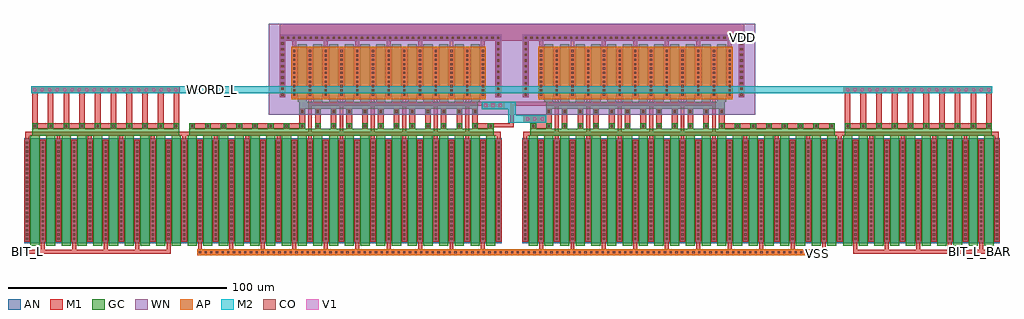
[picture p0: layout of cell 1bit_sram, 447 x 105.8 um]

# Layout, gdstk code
from math import pi, radians
import gdstk
lib = gdstk.Library(unit=1e-6, precision=1e-07)
def R(c, l, rs):  # rectangles x0, y0, x1, y1
    for r in rs: c.add(gdstk.rectangle(r[:2], r[2:], *l))
def A(c, l, x, y, w, h, nx, ny, dx, dy):  # array of equal rectangles
    R(c, l, [(x+i*dx, y+j*dy, x+i*dx+w, y+j*dy+h) for i in range(nx) for j in range(ny)])
AP = (3, 1)
AN = (3, 2)
GC = (8, 1)
CO = (11, 0)
M1 = (13, 0)
V1 = (19, 0)
M2 = (20, 0)
WN = (140, 0)

fet_p = lib.new_cell('fet_p')
R(fet_p, AP, [(-44.5,-12,44.5,12)])
A(fet_p, CO, -43.7, -10.5, 1, 1, 13, 11, 7.2, 2)
A(fet_p, M1, -44.5, -11.3, 2.6, 22.6, 13, 1, 7.2, 0)
fet_p.add(gdstk.FlexPath([(3.6,-13.2),(3.6,13.2)], 4.2, ends="flush", simple_path=True, layer=8, datatype=1))  # GC
fet_p.add(gdstk.FlexPath([(-3.6,-13.2),(-3.6,13.2)], 4.2, ends="flush", simple_path=True, layer=8, datatype=1))  # GC
fet_p.add(gdstk.FlexPath([(10.8,-13.2),(10.8,13.2)], 4.2, ends="flush", simple_path=True, layer=8, datatype=1))  # GC
fet_p.add(gdstk.FlexPath([(-10.8,-13.2),(-10.8,13.2)], 4.2, ends="flush", simple_path=True, layer=8, datatype=1))  # GC
fet_p.add(gdstk.FlexPath([(18,-13.2),(18,13.2)], 4.2, ends="flush", simple_path=True, layer=8, datatype=1))  # GC
fet_p.add(gdstk.FlexPath([(-18,-13.2),(-18,13.2)], 4.2, ends="flush", simple_path=True, layer=8, datatype=1))  # GC
fet_p.add(gdstk.FlexPath([(25.2,-13.2),(25.2,13.2)], 4.2, ends="flush", simple_path=True, layer=8, datatype=1))  # GC
fet_p.add(gdstk.FlexPath([(-25.2,-13.2),(-25.2,13.2)], 4.2, ends="flush", simple_path=True, layer=8, datatype=1))  # GC
fet_p.add(gdstk.FlexPath([(32.4,-13.2),(32.4,13.2)], 4.2, ends="flush", simple_path=True, layer=8, datatype=1))  # GC
fet_p.add(gdstk.FlexPath([(-32.4,-13.2),(-32.4,13.2)], 4.2, ends="flush", simple_path=True, layer=8, datatype=1))  # GC
fet_p.add(gdstk.FlexPath([(39.6,-13.2),(39.6,13.2)], 4.2, ends="flush", simple_path=True, layer=8, datatype=1))  # GC
fet_p.add(gdstk.FlexPath([(-39.6,-13.2),(-39.6,13.2)], 4.2, ends="flush", simple_path=True, layer=8, datatype=1))  # GC

fet_n = lib.new_cell('fet_n')
R(fet_n, AN, [(-73.3,-24,73.3,24)])
A(fet_n, CO, -72.5, -22.5, 1, 1, 21, 23, 7.2, 2)
A(fet_n, M1, -73.3, -23.3, 2.6, 46.6, 21, 1, 7.2, 0)
fet_n.add(gdstk.FlexPath([(3.6,-25.2),(3.6,25.2)], 4.2, ends="flush", simple_path=True, layer=8, datatype=1))  # GC
fet_n.add(gdstk.FlexPath([(-3.6,-25.2),(-3.6,25.2)], 4.2, ends="flush", simple_path=True, layer=8, datatype=1))  # GC
fet_n.add(gdstk.FlexPath([(10.8,-25.2),(10.8,25.2)], 4.2, ends="flush", simple_path=True, layer=8, datatype=1))  # GC
fet_n.add(gdstk.FlexPath([(-10.8,-25.2),(-10.8,25.2)], 4.2, ends="flush", simple_path=True, layer=8, datatype=1))  # GC
fet_n.add(gdstk.FlexPath([(18,-25.2),(18,25.2)], 4.2, ends="flush", simple_path=True, layer=8, datatype=1))  # GC
fet_n.add(gdstk.FlexPath([(-18,-25.2),(-18,25.2)], 4.2, ends="flush", simple_path=True, layer=8, datatype=1))  # GC
fet_n.add(gdstk.FlexPath([(25.2,-25.2),(25.2,25.2)], 4.2, ends="flush", simple_path=True, layer=8, datatype=1))  # GC
fet_n.add(gdstk.FlexPath([(-25.2,-25.2),(-25.2,25.2)], 4.2, ends="flush", simple_path=True, layer=8, datatype=1))  # GC
fet_n.add(gdstk.FlexPath([(32.4,-25.2),(32.4,25.2)], 4.2, ends="flush", simple_path=True, layer=8, datatype=1))  # GC
fet_n.add(gdstk.FlexPath([(-32.4,-25.2),(-32.4,25.2)], 4.2, ends="flush", simple_path=True, layer=8, datatype=1))  # GC
fet_n.add(gdstk.FlexPath([(39.6,-25.2),(39.6,25.2)], 4.2, ends="flush", simple_path=True, layer=8, datatype=1))  # GC
fet_n.add(gdstk.FlexPath([(-39.6,-25.2),(-39.6,25.2)], 4.2, ends="flush", simple_path=True, layer=8, datatype=1))  # GC
fet_n.add(gdstk.FlexPath([(46.8,-25.2),(46.8,25.2)], 4.2, ends="flush", simple_path=True, layer=8, datatype=1))  # GC
fet_n.add(gdstk.FlexPath([(-46.8,-25.2),(-46.8,25.2)], 4.2, ends="flush", simple_path=True, layer=8, datatype=1))  # GC
fet_n.add(gdstk.FlexPath([(54,-25.2),(54,25.2)], 4.2, ends="flush", simple_path=True, layer=8, datatype=1))  # GC
fet_n.add(gdstk.FlexPath([(-54,-25.2),(-54,25.2)], 4.2, ends="flush", simple_path=True, layer=8, datatype=1))  # GC
fet_n.add(gdstk.FlexPath([(61.2,-25.2),(61.2,25.2)], 4.2, ends="flush", simple_path=True, layer=8, datatype=1))  # GC
fet_n.add(gdstk.FlexPath([(-61.2,-25.2),(-61.2,25.2)], 4.2, ends="flush", simple_path=True, layer=8, datatype=1))  # GC
fet_n.add(gdstk.FlexPath([(68.4,-25.2),(68.4,25.2)], 4.2, ends="flush", simple_path=True, layer=8, datatype=1))  # GC
fet_n.add(gdstk.FlexPath([(-68.4,-25.2),(-68.4,25.2)], 4.2, ends="flush", simple_path=True, layer=8, datatype=1))  # GC

cont_n = lib.new_cell('cont_n')
R(cont_n, AN, [(-1.3,-1.3,1.3,1.3)])
R(cont_n, CO, [(-0.5,-0.5,0.5,0.5)])
R(cont_n, M1, [(-1.3,-1.3,1.3,1.3)])

cont_p = lib.new_cell('cont_p')
R(cont_p, AP, [(-1.3,-1.3,1.3,1.3)])
R(cont_p, CO, [(-0.5,-0.5,0.5,0.5)])
R(cont_p, M1, [(-1.3,-1.3,1.3,1.3)])

cont_g = lib.new_cell('cont_g')
R(cont_g, GC, [(-1.3,-1.3,1.3,1.3)])
R(cont_g, CO, [(-0.5,-0.5,0.5,0.5)])
R(cont_g, M1, [(-1.3,-1.3,1.3,1.3)])

inverter = lib.new_cell('INVERTER')
R(inverter, GC, [(3.6,54.6,143,57.8), (54,67,135.8,70.2)])
A(inverter, M1, 54, 57.8, 2.6, 9.2, 12, 1, 7.2, 0)
R(inverter, M1, [(3.6,57.8,56.6,60.4), (133.2,57.8,143,60.4)])
R(inverter, WN, [(40,64.2,151.4,105.8)])
inverter.add(gdstk.FlexPath([(51.7,94.7),(51.7,100.2)], 1.8, ends="flush", simple_path=True, layer=13, datatype=0))  # M1
inverter.add(gdstk.FlexPath([(66.1,94.7),(66.1,100.2)], 1.8, ends="flush", simple_path=True, layer=13, datatype=0))  # M1
inverter.add(gdstk.FlexPath([(80.5,94.7),(80.5,100.2)], 1.8, ends="flush", simple_path=True, layer=13, datatype=0))  # M1
inverter.add(gdstk.FlexPath([(94.9,94.7),(94.9,100.2)], 1.8, ends="flush", simple_path=True, layer=13, datatype=0))  # M1
inverter.add(gdstk.FlexPath([(109.3,94.7),(109.3,100.2)], 1.8, ends="flush", simple_path=True, layer=13, datatype=0))  # M1
inverter.add(gdstk.FlexPath([(123.7,94.7),(123.7,100.2)], 1.8, ends="flush", simple_path=True, layer=13, datatype=0))  # M1
inverter.add(gdstk.FlexPath([(138.1,94.7),(138.1,100.2)], 1.8, ends="flush", simple_path=True, layer=13, datatype=0))  # M1
inverter.add(gdstk.FlexPath([(58.9,72.1),(58.9,52.7)], 1.8, ends="flush", simple_path=True, layer=13, datatype=0))  # M1
inverter.add(gdstk.FlexPath([(73.3,72.1),(73.3,52.7)], 1.8, ends="flush", simple_path=True, layer=13, datatype=0))  # M1
inverter.add(gdstk.FlexPath([(87.7,72.1),(87.7,52.7)], 1.8, ends="flush", simple_path=True, layer=13, datatype=0))  # M1
inverter.add(gdstk.FlexPath([(102.1,72.1),(102.1,52.7)], 1.8, ends="flush", simple_path=True, layer=13, datatype=0))  # M1
inverter.add(gdstk.FlexPath([(116.5,72.1),(116.5,52.7)], 1.8, ends="flush", simple_path=True, layer=13, datatype=0))  # M1
inverter.add(gdstk.FlexPath([(130.9,72.1),(130.9,52.7)], 1.8, ends="flush", simple_path=True, layer=13, datatype=0))  # M1
inverter.add(gdstk.FlexPath([(146.2,55.5),(0.4,55.5)], 1.8, ends="flush", simple_path=True, layer=13, datatype=0))  # M1
inverter.add(gdstk.FlexPath([(131.8,69.3),(58,69.3)], 1.8, ends="flush", simple_path=True, layer=13, datatype=0))  # M1
inverter.add(gdstk.FlexPath([(15.7,56.4),(15.7,52.7)], 1.8, ends="flush", simple_path=True, layer=13, datatype=0))  # M1
inverter.add(gdstk.FlexPath([(30.1,56.4),(30.1,52.7)], 1.8, ends="flush", simple_path=True, layer=13, datatype=0))  # M1
inverter.add(gdstk.FlexPath([(44.5,56.4),(44.5,52.7)], 1.8, ends="flush", simple_path=True, layer=13, datatype=0))  # M1
inverter.add(gdstk.FlexPath([(145.3,56.4),(145.3,52.7)], 1.8, ends="flush", simple_path=True, layer=13, datatype=0))  # M1
inverter.add(gdstk.FlexPath([(8.5,6.1),(8.5,1.3)], 1.8, ends="flush", simple_path=True, layer=13, datatype=0))  # M1
inverter.add(gdstk.FlexPath([(22.9,6.1),(22.9,1.3)], 1.8, ends="flush", simple_path=True, layer=13, datatype=0))  # M1
inverter.add(gdstk.FlexPath([(37.3,6.1),(37.3,1.3)], 1.8, ends="flush", simple_path=True, layer=13, datatype=0))  # M1
inverter.add(gdstk.FlexPath([(1.3,56.4),(1.3,52.7)], 1.8, ends="flush", simple_path=True, layer=13, datatype=0))  # M1
inverter.add(gdstk.FlexPath([(51.7,6.1),(51.7,1.3)], 1.8, ends="flush", simple_path=True, layer=13, datatype=0))  # M1
inverter.add(gdstk.FlexPath([(66.1,6.1),(66.1,1.3)], 1.8, ends="flush", simple_path=True, layer=13, datatype=0))  # M1
inverter.add(gdstk.FlexPath([(80.5,6.1),(80.5,1.3)], 1.8, ends="flush", simple_path=True, layer=13, datatype=0))  # M1
inverter.add(gdstk.FlexPath([(94.9,6.1),(94.9,1.3)], 1.8, ends="flush", simple_path=True, layer=13, datatype=0))  # M1
inverter.add(gdstk.FlexPath([(109.3,6.1),(109.3,1.3)], 1.8, ends="flush", simple_path=True, layer=13, datatype=0))  # M1
inverter.add(gdstk.FlexPath([(123.7,6.1),(123.7,1.3)], 1.8, ends="flush", simple_path=True, layer=13, datatype=0))  # M1
inverter.add(gdstk.FlexPath([(138.1,6.1),(138.1,1.3)], 1.8, ends="flush", simple_path=True, layer=13, datatype=0))  # M1
inverter.add(gdstk.Reference(fet_p, (94.9,83.4)))
inverter.add(gdstk.Reference(fet_n, (73.3,29.4)))
inverter.add(gdstk.Reference(cont_n, (74.9,99.5)))
inverter.add(gdstk.Reference(cont_p, (73.5,1.3)))
inverter.add(gdstk.Reference(cont_g, (98.5,65.7)))
inverter.add(gdstk.Reference(cont_g, (105.7,65.7)))
inverter.add(gdstk.Reference(cont_g, (112.9,65.7)))
inverter.add(gdstk.Reference(cont_g, (120.1,65.7)))
inverter.add(gdstk.Reference(cont_g, (127.3,65.7)))
inverter.add(gdstk.Reference(cont_g, (134.5,65.7)))
inverter.add(gdstk.Reference(cont_g, (76.9,65.7)))
inverter.add(gdstk.Reference(cont_g, (84.1,65.7)))
inverter.add(gdstk.Reference(cont_n, (77.5,99.5)))
inverter.add(gdstk.Reference(cont_n, (80.1,99.5)))
inverter.add(gdstk.Reference(cont_n, (82.7,99.5)))
inverter.add(gdstk.Reference(cont_n, (85.3,99.5)))
inverter.add(gdstk.Reference(cont_n, (87.9,99.5)))
inverter.add(gdstk.Reference(cont_n, (90.5,99.5)))
inverter.add(gdstk.Reference(cont_n, (93.1,99.5)))
inverter.add(gdstk.Reference(cont_n, (95.7,99.5)))
inverter.add(gdstk.Reference(cont_n, (98.3,99.5)))
inverter.add(gdstk.Reference(cont_n, (100.9,99.5)))
inverter.add(gdstk.Reference(cont_n, (103.5,99.5)))
inverter.add(gdstk.Reference(cont_n, (106.1,99.5)))
inverter.add(gdstk.Reference(cont_n, (108.7,99.5)))
inverter.add(gdstk.Reference(cont_n, (111.3,99.5)))
inverter.add(gdstk.Reference(cont_n, (113.9,99.5)))
inverter.add(gdstk.Reference(cont_n, (116.5,99.5)))
inverter.add(gdstk.Reference(cont_n, (119.1,99.5)))
inverter.add(gdstk.Reference(cont_n, (121.7,99.5)))
inverter.add(gdstk.Reference(cont_n, (124.3,99.5)))
inverter.add(gdstk.Reference(cont_n, (126.9,99.5)))
inverter.add(gdstk.Reference(cont_n, (129.5,99.5)))
inverter.add(gdstk.Reference(cont_n, (132.1,99.5)))
inverter.add(gdstk.Reference(cont_n, (134.7,99.5)))
inverter.add(gdstk.Reference(cont_n, (137.3,99.5)))
inverter.add(gdstk.Reference(cont_n, (139.9,99.5)))
inverter.add(gdstk.Reference(cont_n, (142.5,99.5)))
inverter.add(gdstk.Reference(cont_n, (145.1,99.5)))
inverter.add(gdstk.Reference(cont_n, (145.1,96.9)))
inverter.add(gdstk.Reference(cont_n, (145.1,94.3)))
inverter.add(gdstk.Reference(cont_n, (145.1,91.7)))
inverter.add(gdstk.Reference(cont_n, (145.1,89.1)))
inverter.add(gdstk.Reference(cont_n, (145.1,86.5)))
inverter.add(gdstk.Reference(cont_n, (145.1,83.9)))
inverter.add(gdstk.Reference(cont_n, (145.1,81.3)))
inverter.add(gdstk.Reference(cont_n, (145.1,78.7)))
inverter.add(gdstk.Reference(cont_n, (145.1,76.1)))
inverter.add(gdstk.Reference(cont_n, (145.1,73.5)))
inverter.add(gdstk.Reference(cont_g, (141.7,59.1)))
inverter.add(gdstk.Reference(cont_g, (76.9,59.1)))
inverter.add(gdstk.Reference(cont_g, (84.1,59.1)))
inverter.add(gdstk.Reference(cont_g, (91.3,59.1)))
inverter.add(gdstk.Reference(cont_g, (98.5,59.1)))
inverter.add(gdstk.Reference(cont_g, (105.7,59.1)))
inverter.add(gdstk.Reference(cont_g, (112.9,59.1)))
inverter.add(gdstk.Reference(cont_g, (120.1,59.1)))
inverter.add(gdstk.Reference(cont_g, (127.3,59.1)))
inverter.add(gdstk.Reference(cont_g, (134.5,59.1)))
inverter.add(gdstk.Reference(cont_g, (91.3,65.7)))
inverter.add(gdstk.Reference(cont_n, (56.7,99.5)))
inverter.add(gdstk.Reference(cont_n, (59.3,99.5)))
inverter.add(gdstk.Reference(cont_n, (61.9,99.5)))
inverter.add(gdstk.Reference(cont_g, (4.9,59.1)))
inverter.add(gdstk.Reference(cont_g, (12.1,59.1)))
inverter.add(gdstk.Reference(cont_g, (19.3,59.1)))
inverter.add(gdstk.Reference(cont_g, (26.5,59.1)))
inverter.add(gdstk.Reference(cont_g, (33.7,59.1)))
inverter.add(gdstk.Reference(cont_g, (40.9,59.1)))
inverter.add(gdstk.Reference(cont_g, (48.1,59.1)))
inverter.add(gdstk.Reference(cont_g, (55.3,59.1)))
inverter.add(gdstk.Reference(cont_n, (46.3,96.9)))
inverter.add(gdstk.Reference(cont_n, (46.3,94.3)))
inverter.add(gdstk.Reference(cont_n, (46.3,91.7)))
inverter.add(gdstk.Reference(cont_n, (46.3,89.1)))
inverter.add(gdstk.Reference(cont_n, (46.3,86.5)))
inverter.add(gdstk.Reference(cont_n, (46.3,83.9)))
inverter.add(gdstk.Reference(cont_n, (46.3,81.3)))
inverter.add(gdstk.Reference(cont_n, (46.3,78.7)))
inverter.add(gdstk.Reference(cont_n, (46.3,76.1)))
inverter.add(gdstk.Reference(cont_n, (46.3,73.5)))
inverter.add(gdstk.Reference(cont_n, (64.5,99.5)))
inverter.add(gdstk.Reference(cont_g, (62.5,59.1)))
inverter.add(gdstk.Reference(cont_g, (69.7,59.1)))
inverter.add(gdstk.Reference(cont_n, (67.1,99.5)))
inverter.add(gdstk.Reference(cont_n, (69.7,99.5)))
inverter.add(gdstk.Reference(cont_n, (72.3,99.5)))
inverter.add(gdstk.Reference(cont_g, (55.3,65.7)))
inverter.add(gdstk.Reference(cont_g, (69.7,65.7)))
inverter.add(gdstk.Reference(cont_g, (62.5,65.7)))
inverter.add(gdstk.Reference(cont_n, (48.9,99.5)))
inverter.add(gdstk.Reference(cont_n, (46.3,99.5)))
inverter.add(gdstk.Reference(cont_n, (51.5,99.5)))
inverter.add(gdstk.Reference(cont_n, (54.1,99.5)))
inverter.add(gdstk.Reference(cont_p, (11.1,1.3)))
inverter.add(gdstk.Reference(cont_p, (13.7,1.3)))
inverter.add(gdstk.Reference(cont_p, (16.3,1.3)))
inverter.add(gdstk.Reference(cont_p, (18.9,1.3)))
inverter.add(gdstk.Reference(cont_p, (21.5,1.3)))
inverter.add(gdstk.Reference(cont_p, (24.1,1.3)))
inverter.add(gdstk.Reference(cont_p, (26.7,1.3)))
inverter.add(gdstk.Reference(cont_p, (29.3,1.3)))
inverter.add(gdstk.Reference(cont_p, (31.9,1.3)))
inverter.add(gdstk.Reference(cont_p, (34.5,1.3)))
inverter.add(gdstk.Reference(cont_p, (37.1,1.3)))
inverter.add(gdstk.Reference(cont_p, (39.7,1.3)))
inverter.add(gdstk.Reference(cont_p, (42.3,1.3)))
inverter.add(gdstk.Reference(cont_p, (44.9,1.3)))
inverter.add(gdstk.Reference(cont_p, (47.5,1.3)))
inverter.add(gdstk.Reference(cont_p, (50.1,1.3)))
inverter.add(gdstk.Reference(cont_p, (52.7,1.3)))
inverter.add(gdstk.Reference(cont_p, (55.3,1.3)))
inverter.add(gdstk.Reference(cont_p, (57.9,1.3)))
inverter.add(gdstk.Reference(cont_p, (60.5,1.3)))
inverter.add(gdstk.Reference(cont_p, (63.1,1.3)))
inverter.add(gdstk.Reference(cont_p, (65.7,1.3)))
inverter.add(gdstk.Reference(cont_p, (68.3,1.3)))
inverter.add(gdstk.Reference(cont_p, (70.9,1.3)))
inverter.add(gdstk.Reference(cont_p, (8.5,1.3)))
inverter.add(gdstk.Reference(cont_p, (76.1,1.3)))
inverter.add(gdstk.Reference(cont_p, (78.7,1.3)))
inverter.add(gdstk.Reference(cont_p, (81.3,1.3)))
inverter.add(gdstk.Reference(cont_p, (83.9,1.3)))
inverter.add(gdstk.Reference(cont_p, (86.5,1.3)))
inverter.add(gdstk.Reference(cont_p, (89.1,1.3)))
inverter.add(gdstk.Reference(cont_p, (91.7,1.3)))
inverter.add(gdstk.Reference(cont_p, (94.3,1.3)))
inverter.add(gdstk.Reference(cont_p, (96.9,1.3)))
inverter.add(gdstk.Reference(cont_p, (99.5,1.3)))
inverter.add(gdstk.Reference(cont_p, (102.1,1.3)))
inverter.add(gdstk.Reference(cont_p, (104.7,1.3)))
inverter.add(gdstk.Reference(cont_p, (107.3,1.3)))
inverter.add(gdstk.Reference(cont_p, (109.9,1.3)))
inverter.add(gdstk.Reference(cont_p, (112.5,1.3)))
inverter.add(gdstk.Reference(cont_p, (115.1,1.3)))
inverter.add(gdstk.Reference(cont_p, (117.7,1.3)))
inverter.add(gdstk.Reference(cont_p, (120.3,1.3)))
inverter.add(gdstk.Reference(cont_p, (122.9,1.3)))
inverter.add(gdstk.Reference(cont_p, (125.5,1.3)))
inverter.add(gdstk.Reference(cont_p, (128.1,1.3)))
inverter.add(gdstk.Reference(cont_p, (130.7,1.3)))
inverter.add(gdstk.Reference(cont_p, (133.3,1.3)))
inverter.add(gdstk.Reference(cont_p, (135.9,1.3)))
inverter.add(gdstk.Reference(cont_p, (138.5,1.3)))
inverter.add(gdstk.Reference(cont_p, (141.1,1.3)))
inverter.add(gdstk.Reference(cont_p, (143.7,1.3)))
inverter.add(gdstk.Reference(cont_p, (146.3,1.3)))

via_1 = lib.new_cell('via_1')
R(via_1, M1, [(-1.7,-1.7,1.7,1.7)])
R(via_1, V1, [(-0.7,-0.7,0.7,0.7)])
R(via_1, M2, [(-1.7,-1.7,1.7,1.7)])

fet_n_2 = lib.new_cell('fet_n$2')
R(fet_n_2, AN, [(-37.3,-24,37.3,24)])
A(fet_n_2, CO, -36.5, -22.5, 1, 1, 11, 23, 7.2, 2)
A(fet_n_2, M1, -37.3, -23.3, 2.6, 46.6, 11, 1, 7.2, 0)
fet_n_2.add(gdstk.FlexPath([(3.6,-25.2),(3.6,25.2)], 4.2, ends="flush", simple_path=True, layer=8, datatype=1))  # GC
fet_n_2.add(gdstk.FlexPath([(-3.6,-25.2),(-3.6,25.2)], 4.2, ends="flush", simple_path=True, layer=8, datatype=1))  # GC
fet_n_2.add(gdstk.FlexPath([(10.8,-25.2),(10.8,25.2)], 4.2, ends="flush", simple_path=True, layer=8, datatype=1))  # GC
fet_n_2.add(gdstk.FlexPath([(-10.8,-25.2),(-10.8,25.2)], 4.2, ends="flush", simple_path=True, layer=8, datatype=1))  # GC
fet_n_2.add(gdstk.FlexPath([(18,-25.2),(18,25.2)], 4.2, ends="flush", simple_path=True, layer=8, datatype=1))  # GC
fet_n_2.add(gdstk.FlexPath([(-18,-25.2),(-18,25.2)], 4.2, ends="flush", simple_path=True, layer=8, datatype=1))  # GC
fet_n_2.add(gdstk.FlexPath([(25.2,-25.2),(25.2,25.2)], 4.2, ends="flush", simple_path=True, layer=8, datatype=1))  # GC
fet_n_2.add(gdstk.FlexPath([(-25.2,-25.2),(-25.2,25.2)], 4.2, ends="flush", simple_path=True, layer=8, datatype=1))  # GC
fet_n_2.add(gdstk.FlexPath([(32.4,-25.2),(32.4,25.2)], 4.2, ends="flush", simple_path=True, layer=8, datatype=1))  # GC
fet_n_2.add(gdstk.FlexPath([(-32.4,-25.2),(-32.4,25.2)], 4.2, ends="flush", simple_path=True, layer=8, datatype=1))  # GC

c_1bit_sram = lib.new_cell('1bit_sram')
R(c_1bit_sram, M1, [(-163.2,-19.5,-95.8,-16.9), (209,-19.5,276.4,-16.9), (65,-16.9,72.2,-16.7), (-49.8,20.9,163,28.5)])
c_1bit_sram.add(gdstk.FlexPath([(-95.8,-21.1),(-163.2,-21.1)], 3.2, ends="flush", simple_path=True, layer=8, datatype=1))  # GC
c_1bit_sram.add(gdstk.FlexPath([(276.4,-21.1),(209,-21.1)], 3.2, ends="flush", simple_path=True, layer=8, datatype=1))  # GC
c_1bit_sram.add(gdstk.FlexPath([(36.9,-8),(51.5,-8)], 1.8, ends="flush", simple_path=True, layer=13, datatype=0))  # M1
c_1bit_sram.add(gdstk.FlexPath([(76.2,-8),(56.6,-8),(56.6,-17.8),(46.7,-17.8)], 1.8, ends="flush", simple_path=True, layer=13, datatype=0))  # M1
c_1bit_sram.add(gdstk.FlexPath([(-94.4,-21.8),(-166.4,-21.8)], 1.8, ends="flush", simple_path=True, layer=13, datatype=0))  # M1
c_1bit_sram.add(gdstk.FlexPath([(-107.9,-24.6),(-107.9,-20.9)], 1.8, ends="flush", simple_path=True, layer=13, datatype=0))  # M1
c_1bit_sram.add(gdstk.FlexPath([(-122.3,-24.6),(-122.3,-20.9)], 1.8, ends="flush", simple_path=True, layer=13, datatype=0))  # M1
c_1bit_sram.add(gdstk.FlexPath([(-136.7,-24.6),(-136.7,-20.9)], 1.8, ends="flush", simple_path=True, layer=13, datatype=0))  # M1
c_1bit_sram.add(gdstk.FlexPath([(-151.1,-24.6),(-151.1,-20.9)], 1.8, ends="flush", simple_path=True, layer=13, datatype=0))  # M1
c_1bit_sram.add(gdstk.FlexPath([(-165.5,-24.6),(-165.5,-20.9)], 1.8, ends="flush", simple_path=True, layer=13, datatype=0))  # M1
c_1bit_sram.add(gdstk.FlexPath([(207.6,-21.8),(279.6,-21.8)], 1.8, ends="flush", simple_path=True, layer=13, datatype=0))  # M1
c_1bit_sram.add(gdstk.FlexPath([(221.1,-24.6),(221.1,-20.9)], 1.8, ends="flush", simple_path=True, layer=13, datatype=0))  # M1
c_1bit_sram.add(gdstk.FlexPath([(235.5,-24.6),(235.5,-20.9)], 1.8, ends="flush", simple_path=True, layer=13, datatype=0))  # M1
c_1bit_sram.add(gdstk.FlexPath([(249.9,-24.6),(249.9,-20.9)], 1.8, ends="flush", simple_path=True, layer=13, datatype=0))  # M1
c_1bit_sram.add(gdstk.FlexPath([(264.3,-24.6),(264.3,-20.9)], 1.8, ends="flush", simple_path=True, layer=13, datatype=0))  # M1
c_1bit_sram.add(gdstk.FlexPath([(278.7,-24.6),(278.7,-20.9)], 1.8, ends="flush", simple_path=True, layer=13, datatype=0))  # M1
c_1bit_sram.add(gdstk.FlexPath([(-100.7,-71.2),(-100.7,-76.6)], 1.8, ends="flush", simple_path=True, layer=13, datatype=0))  # M1
c_1bit_sram.add(gdstk.FlexPath([(-115.1,-71.2),(-115.1,-76.6)], 1.8, ends="flush", simple_path=True, layer=13, datatype=0))  # M1
c_1bit_sram.add(gdstk.FlexPath([(-129.5,-71.2),(-129.5,-76.6)], 1.8, ends="flush", simple_path=True, layer=13, datatype=0))  # M1
c_1bit_sram.add(gdstk.FlexPath([(-143.9,-71.2),(-143.9,-76.6)], 1.8, ends="flush", simple_path=True, layer=13, datatype=0))  # M1
c_1bit_sram.add(gdstk.FlexPath([(-158.3,-71.2),(-158.3,-76.6)], 1.8, ends="flush", simple_path=True, layer=13, datatype=0))  # M1
c_1bit_sram.add(gdstk.FlexPath([(-99.8,-75.8),(-166.9,-75.8)], 1.8, ends="flush", simple_path=True, layer=13, datatype=0))  # M1
c_1bit_sram.add(gdstk.FlexPath([(271.5,-71.2),(271.5,-76.6)], 1.8, ends="flush", simple_path=True, layer=13, datatype=0))  # M1
c_1bit_sram.add(gdstk.FlexPath([(257.1,-71.2),(257.1,-76.6)], 1.8, ends="flush", simple_path=True, layer=13, datatype=0))  # M1
c_1bit_sram.add(gdstk.FlexPath([(242.7,-71.2),(242.7,-76.6)], 1.8, ends="flush", simple_path=True, layer=13, datatype=0))  # M1
c_1bit_sram.add(gdstk.FlexPath([(228.3,-71.2),(228.3,-76.6)], 1.8, ends="flush", simple_path=True, layer=13, datatype=0))  # M1
c_1bit_sram.add(gdstk.FlexPath([(213.9,-71.2),(213.9,-76.6)], 1.8, ends="flush", simple_path=True, layer=13, datatype=0))  # M1
c_1bit_sram.add(gdstk.FlexPath([(280.1,-75.8),(213,-75.8)], 1.8, ends="flush", simple_path=True, layer=13, datatype=0))  # M1
c_1bit_sram.add(gdstk.FlexPath([(-161.9,-18.2),(-161.9,-1.6)], 2.6, ends="flush", simple_path=True, layer=13, datatype=0))  # M1
c_1bit_sram.add(gdstk.FlexPath([(-154.7,-18.2),(-154.7,-1.6)], 2.6, ends="flush", simple_path=True, layer=13, datatype=0))  # M1
c_1bit_sram.add(gdstk.FlexPath([(-147.5,-18.2),(-147.5,-1.6)], 2.6, ends="flush", simple_path=True, layer=13, datatype=0))  # M1
c_1bit_sram.add(gdstk.FlexPath([(-140.3,-18.2),(-140.3,-1.6)], 2.6, ends="flush", simple_path=True, layer=13, datatype=0))  # M1
c_1bit_sram.add(gdstk.FlexPath([(-133.1,-18.2),(-133.1,-1.6)], 2.6, ends="flush", simple_path=True, layer=13, datatype=0))  # M1
c_1bit_sram.add(gdstk.FlexPath([(-125.9,-18.2),(-125.9,-1.6)], 2.6, ends="flush", simple_path=True, layer=13, datatype=0))  # M1
c_1bit_sram.add(gdstk.FlexPath([(-118.7,-18.2),(-118.7,-1.6)], 2.6, ends="flush", simple_path=True, layer=13, datatype=0))  # M1
c_1bit_sram.add(gdstk.FlexPath([(-111.5,-18.2),(-111.5,-1.6)], 2.6, ends="flush", simple_path=True, layer=13, datatype=0))  # M1
c_1bit_sram.add(gdstk.FlexPath([(-104.3,-18.2),(-104.3,-1.6)], 2.6, ends="flush", simple_path=True, layer=13, datatype=0))  # M1
c_1bit_sram.add(gdstk.FlexPath([(-97.1,-18.2),(-97.1,-1.6)], 2.6, ends="flush", simple_path=True, layer=13, datatype=0))  # M1
c_1bit_sram.add(gdstk.FlexPath([(210.3,-18.2),(210.3,-1.6)], 2.6, ends="flush", simple_path=True, layer=13, datatype=0))  # M1
c_1bit_sram.add(gdstk.FlexPath([(217.5,-18.2),(217.5,-1.6)], 2.6, ends="flush", simple_path=True, layer=13, datatype=0))  # M1
c_1bit_sram.add(gdstk.FlexPath([(224.7,-18.2),(224.7,-1.6)], 2.6, ends="flush", simple_path=True, layer=13, datatype=0))  # M1
c_1bit_sram.add(gdstk.FlexPath([(231.9,-18.2),(231.9,-1.6)], 2.6, ends="flush", simple_path=True, layer=13, datatype=0))  # M1
c_1bit_sram.add(gdstk.FlexPath([(239.1,-18.2),(239.1,-1.6)], 2.6, ends="flush", simple_path=True, layer=13, datatype=0))  # M1
c_1bit_sram.add(gdstk.FlexPath([(246.3,-18.2),(246.3,-1.6)], 2.6, ends="flush", simple_path=True, layer=13, datatype=0))  # M1
c_1bit_sram.add(gdstk.FlexPath([(253.5,-18.2),(253.5,-1.6)], 2.6, ends="flush", simple_path=True, layer=13, datatype=0))  # M1
c_1bit_sram.add(gdstk.FlexPath([(260.7,-18.2),(260.7,-1.6)], 2.6, ends="flush", simple_path=True, layer=13, datatype=0))  # M1
c_1bit_sram.add(gdstk.FlexPath([(267.9,-18.2),(267.9,-1.6)], 2.6, ends="flush", simple_path=True, layer=13, datatype=0))  # M1
c_1bit_sram.add(gdstk.FlexPath([(275.1,-18.2),(275.1,-1.6)], 2.6, ends="flush", simple_path=True, layer=13, datatype=0))  # M1
c_1bit_sram.add(gdstk.FlexPath([(49.6,-8.8),(56.6,-8.8),(56.6,-15),(65.4,-15)], 3.4, ends="flush", simple_path=True, layer=20, datatype=0))  # M2
c_1bit_sram.add(gdstk.FlexPath([(276.6,-1.6),(-163.6,-1.6)], 3.4, ends="flush", simple_path=True, layer=20, datatype=0))  # M2
c_1bit_sram.add(gdstk.Reference(inverter, (208,-77.3), rotation=pi, x_reflection=True))
c_1bit_sram.add(gdstk.Reference(via_1, (44.5,-8.8)))
c_1bit_sram.add(gdstk.Reference(via_1, (47.9,-8.8)))
c_1bit_sram.add(gdstk.Reference(via_1, (51.3,-8.8)))
c_1bit_sram.add(gdstk.Reference(via_1, (70.5,-15)))
c_1bit_sram.add(gdstk.Reference(via_1, (67.1,-15)))
c_1bit_sram.add(gdstk.Reference(via_1, (63.7,-15)))
c_1bit_sram.add(gdstk.Reference(cont_p, (54.1,-76)))
c_1bit_sram.add(gdstk.Reference(cont_p, (56.7,-76)))
c_1bit_sram.add(gdstk.Reference(cont_p, (59.2,-76)))
c_1bit_sram.add(gdstk.Reference(fet_n_2, (242.7,-47.9)))
c_1bit_sram.add(gdstk.Reference(cont_g, (-97.1,-18.2)))
c_1bit_sram.add(gdstk.Reference(cont_g, (-104.3,-18.2)))
c_1bit_sram.add(gdstk.Reference(cont_g, (-111.5,-18.2)))
c_1bit_sram.add(gdstk.Reference(cont_g, (-118.7,-18.2)))
c_1bit_sram.add(gdstk.Reference(cont_g, (-125.9,-18.2)))
c_1bit_sram.add(gdstk.Reference(cont_g, (-133.1,-18.2)))
c_1bit_sram.add(gdstk.Reference(cont_g, (-140.3,-18.2)))
c_1bit_sram.add(gdstk.Reference(cont_g, (-147.5,-18.2)))
c_1bit_sram.add(gdstk.Reference(cont_g, (-154.7,-18.2)))
c_1bit_sram.add(gdstk.Reference(cont_g, (-161.9,-18.2)))
c_1bit_sram.add(gdstk.Reference(cont_g, (275.1,-18.2)))
c_1bit_sram.add(gdstk.Reference(cont_g, (267.9,-18.2)))
c_1bit_sram.add(gdstk.Reference(cont_g, (260.7,-18.2)))
c_1bit_sram.add(gdstk.Reference(cont_g, (253.5,-18.2)))
c_1bit_sram.add(gdstk.Reference(cont_g, (246.3,-18.2)))
c_1bit_sram.add(gdstk.Reference(cont_g, (239.1,-18.2)))
c_1bit_sram.add(gdstk.Reference(cont_g, (231.9,-18.2)))
c_1bit_sram.add(gdstk.Reference(cont_g, (224.7,-18.2)))
c_1bit_sram.add(gdstk.Reference(cont_g, (217.5,-18.2)))
c_1bit_sram.add(gdstk.Reference(cont_g, (210.3,-18.2)))
c_1bit_sram.add(gdstk.Reference(via_1, (-161.9,-1.6)))
c_1bit_sram.add(gdstk.Reference(via_1, (-158.5,-1.6)))
c_1bit_sram.add(gdstk.Reference(via_1, (-155.1,-1.6)))
c_1bit_sram.add(gdstk.Reference(via_1, (-151.7,-1.6)))
c_1bit_sram.add(gdstk.Reference(via_1, (-148.3,-1.6)))
c_1bit_sram.add(gdstk.Reference(via_1, (-144.9,-1.6)))
c_1bit_sram.add(gdstk.Reference(via_1, (-141.5,-1.6)))
c_1bit_sram.add(gdstk.Reference(via_1, (-138.1,-1.6)))
c_1bit_sram.add(gdstk.Reference(via_1, (-134.7,-1.6)))
c_1bit_sram.add(gdstk.Reference(via_1, (-131.3,-1.6)))
c_1bit_sram.add(gdstk.Reference(via_1, (-127.9,-1.6)))
c_1bit_sram.add(gdstk.Reference(via_1, (-124.5,-1.6)))
c_1bit_sram.add(gdstk.Reference(via_1, (-121.1,-1.6)))
c_1bit_sram.add(gdstk.Reference(via_1, (-117.7,-1.6)))
c_1bit_sram.add(gdstk.Reference(via_1, (-114.3,-1.6)))
c_1bit_sram.add(gdstk.Reference(via_1, (-110.9,-1.6)))
c_1bit_sram.add(gdstk.Reference(via_1, (-107.5,-1.6)))
c_1bit_sram.add(gdstk.Reference(via_1, (-104.1,-1.6)))
c_1bit_sram.add(gdstk.Reference(via_1, (-100.7,-1.6)))
c_1bit_sram.add(gdstk.Reference(via_1, (-97.3,-1.6)))
c_1bit_sram.add(gdstk.Reference(via_1, (210.3,-1.6)))
c_1bit_sram.add(gdstk.Reference(via_1, (213.7,-1.6)))
c_1bit_sram.add(gdstk.Reference(via_1, (217.1,-1.6)))
c_1bit_sram.add(gdstk.Reference(via_1, (220.5,-1.6)))
c_1bit_sram.add(gdstk.Reference(via_1, (223.9,-1.6)))
c_1bit_sram.add(gdstk.Reference(via_1, (227.3,-1.6)))
c_1bit_sram.add(gdstk.Reference(via_1, (230.7,-1.6)))
c_1bit_sram.add(gdstk.Reference(via_1, (234.1,-1.6)))
c_1bit_sram.add(gdstk.Reference(via_1, (237.5,-1.6)))
c_1bit_sram.add(gdstk.Reference(via_1, (240.9,-1.6)))
c_1bit_sram.add(gdstk.Reference(via_1, (244.3,-1.6)))
c_1bit_sram.add(gdstk.Reference(via_1, (247.7,-1.6)))
c_1bit_sram.add(gdstk.Reference(via_1, (251.1,-1.6)))
c_1bit_sram.add(gdstk.Reference(fet_n_2, (-129.5,-47.9)))
c_1bit_sram.add(gdstk.Reference(via_1, (254.5,-1.6)))
c_1bit_sram.add(gdstk.Reference(via_1, (257.9,-1.6)))
c_1bit_sram.add(gdstk.Reference(via_1, (261.3,-1.6)))
c_1bit_sram.add(gdstk.Reference(via_1, (264.7,-1.6)))
c_1bit_sram.add(gdstk.Reference(via_1, (268.1,-1.6)))
c_1bit_sram.add(gdstk.Reference(via_1, (271.5,-1.6)))
c_1bit_sram.add(gdstk.Reference(via_1, (274.9,-1.6)))
c_1bit_sram.add(gdstk.Reference(inverter, (-94.8,-77.3)))
c_1bit_sram.add(gdstk.Label('VSS', (196.4,-76.4), layer=48, texttype=0))
c_1bit_sram.add(gdstk.Label('VDD', (162,22.3), layer=48, texttype=0))
c_1bit_sram.add(gdstk.Label('BIT_L', (-165.5,-75.8), layer=48, texttype=0))
c_1bit_sram.add(gdstk.Label('BIT_L_BAR', (270.7,-75.8), layer=48, texttype=0))
c_1bit_sram.add(gdstk.Label('WORD_L', (-80.7,-1.6), layer=49, texttype=0))

lib.write_gds('1bit_sram.gds')
